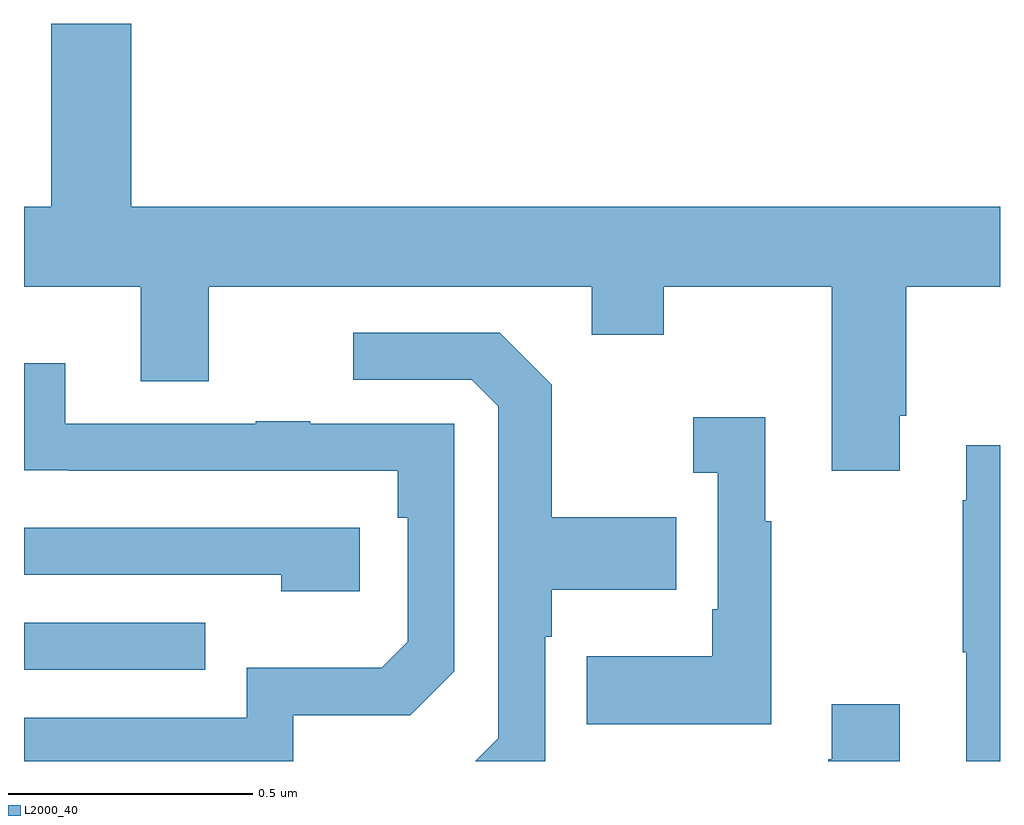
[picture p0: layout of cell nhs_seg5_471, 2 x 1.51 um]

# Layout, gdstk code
import gdstk
lib = gdstk.Library(unit=1e-6, precision=1e-09)
def R(c, l, rs):  # rectangles x0, y0, x1, y1
    for r in rs: c.add(gdstk.rectangle(r[:2], r[2:], *l))
def P(c, l, *ps):  # polygons
    for p in ps: c.add(gdstk.Polygon(p, *l))
L2000_40 = (2000, 40)

nhs_seg5_471 = lib.new_cell('nhs_seg5_471')
R(nhs_seg5_471, L2000_40, [(117,843.987,117.371,844.083)])
P(nhs_seg5_471, L2000_40, [(118.795,844.507),(118.808,844.507),(118.808,844.772),(119,844.772),(119,844.936),(117.22,844.936),(117.22,845.311),(117.056,845.311),(117.056,844.936),(117,844.936),(117,844.772),(117.239,844.772),(117.239,844.578),(117.379,844.578),(117.379,844.772),(118.163,844.772),(118.163,844.673),(118.311,844.673),(118.311,844.772),(118.655,844.772),(118.655,844.395),(118.795,844.395)],
  [(118.068,844.055),(118.081,844.055),(118.081,844.151),(118.337,844.151),(118.337,844.299),(118.081,844.299),(118.081,844.571),(117.975,844.677),(117.675,844.677),(117.675,844.581),(117.918,844.581),(117.972,844.527),(117.972,843.846),(117.925,843.799),(118.068,843.799)],
  [(117.552,843.894),(117.792,843.894),(117.882,843.984),(117.882,844.491),(117.587,844.491),(117.587,844.496),(117.475,844.496),(117.475,844.491),(117.085,844.491),(117.085,844.615),(117,844.615),(117,844.396),(117.091,844.396),(117.091,844.395),(117.766,844.395),(117.766,844.298),(117.786,844.298),(117.786,844.044),(117.733,843.991),(117.456,843.991),(117.456,843.888),(117,843.888),(117,843.799),(117.552,843.799)],
  [(118.531,844.291),(118.519,844.291),(118.519,844.504),(118.371,844.504),(118.371,844.391),(118.422,844.391),(118.422,844.111),(118.41,844.111),(118.41,844.015),(118.153,844.015),(118.153,843.875),(118.531,843.875)],
  [(119,844.447),(118.931,844.447),(118.931,844.334),(118.924,844.334),(118.924,844.023),(118.931,844.023),(118.931,843.799),(119,843.799)],
  [(117.688,844.278),(117,844.278),(117,844.182),(117.527,844.182),(117.527,844.148),(117.688,844.148)],
  [(118.795,843.916),(118.655,843.916),(118.655,843.803),(118.648,843.803),(118.648,843.799),(118.795,843.799)])

lib.write_gds('nhs_seg5_471.gds')
